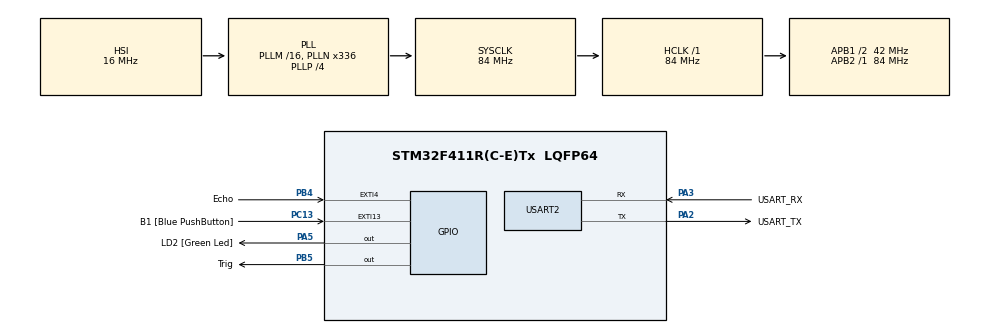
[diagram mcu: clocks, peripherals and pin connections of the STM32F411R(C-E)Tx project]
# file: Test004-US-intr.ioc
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Mcu.Family=STM32F4
Mcu.Name=STM32F411R(C-E)Tx
Mcu.Package=LQFP64
NVIC.EXTI4_IRQn=true\:0\:0\:false\:false\:true\:true\:true\:true
NVIC.PriorityGroup=NVIC_PRIORITYGROUP_0
NVIC.TIM3_IRQn=true\:0\:0\:false\:false\:true\:true\:true\:true
PA13.GPIO_Label=TMS
PA13.Mode=Serial_Wire
PA13.Signal=SYS_JTMS-SWDIO
PA14.GPIO_Label=TCK
PA14.Mode=Serial_Wire
PA14.Signal=SYS_JTCK-SWCLK
PA2.GPIO_Label=USART_TX
PA2.Mode=Asynchronous
PA2.Signal=USART2_TX
PA3.GPIO_Label=USART_RX
PA3.Mode=Asynchronous
PA3.Signal=USART2_RX
PA5.GPIO_Label=LD2 [Green Led]
PA5.Signal=GPIO_Output
PB3.GPIO_Label=SWO
PB3.Signal=SYS_JTDO-SWO
PB4.GPIO_Label=Echo
PB4.GPIO_ModeDefaultEXTI=GPIO_MODE_IT_RISING_FALLING
PB4.Signal=GPXTI4
PB5.GPIO_Label=Trig
PB5.Signal=GPIO_Output
PC13-ANTI_TAMP.GPIO_Label=B1 [Blue PushButton]
PC13-ANTI_TAMP.GPIO_ModeDefaultEXTI=GPIO_MODE_IT_FALLING
PC13-ANTI_TAMP.Signal=GPXTI13
PC14-OSC32_IN.Mode=LSE-External-Oscillator
PC14-OSC32_IN.Signal=RCC_OSC32_IN
PC15-OSC32_OUT.Mode=LSE-External-Oscillator
PC15-OSC32_OUT.Signal=RCC_OSC32_OUT
PH0\ -\ OSC_IN.Mode=HSE-External-Clock-Source
PH0\ -\ OSC_IN.Signal=RCC_OSC_IN
PH1\ -\ OSC_OUT.Mode=HSE-External-Clock-Source
PH1\ -\ OSC_OUT.Signal=RCC_OSC_OUT
ProjectManager.HeapSize=0x200
ProjectManager.StackSize=0x400
ProjectManager.TargetToolchain=STM32CubeIDE
RCC.48MHZClocksFreq_Value=84000000
RCC.AHBFreq_Value=84000000
RCC.APB1CLKDivider=RCC_HCLK_DIV2
RCC.APB1Freq_Value=42000000
RCC.APB1TimFreq_Value=84000000
RCC.APB2Freq_Value=84000000
RCC.APB2TimFreq_Value=84000000
RCC.CortexFreq_Value=84000000
RCC.FLatency-AdvancedSettings=FLASH_LATENCY_2
RCC.HCLKFreq_Value=84000000
RCC.HSE_VALUE=8000000
RCC.HSI_VALUE=16000000
RCC.PLLN=336
RCC.PLLP=RCC_PLLP_DIV4
RCC.SYSCLKFreq_VALUE=84000000
RCC.SYSCLKSource=RCC_SYSCLKSOURCE_PLLCLK
RCC.VCOOutputFreq_Value=336000000
TIM3.Period=10000-1
TIM3.Prescaler=560-1
TIM5.Prescaler=84-1
USART2.VirtualMode=VM_ASYNC
VP_TIM3_VS_ClockSourceINT.Mode=Internal
VP_TIM5_VS_ClockSourceINT.Mode=Internal
board=NUCLEO-F411RE

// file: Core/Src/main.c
/* USER CODE BEGIN Header */
/**
  ******************************************************************************
  * @file           : main.c
  * @brief          : Main program body
  ******************************************************************************
  * @attention
  *
  * Copyright (c) 2024 STMicroelectronics.
  * All rights reserved.
  *
  * This software is licensed under terms that can be found in the LICENSE file
  * in the root directory of this software component.
  * If no LICENSE file comes with this software, it is provided AS-IS.
  *
  ******************************************************************************
  */
/* USER CODE END Header */
#include "main.h"

TIM_HandleTypeDef htim3;
TIM_HandleTypeDef htim5;

UART_HandleTypeDef huart2;

void SystemClock_Config(void);
static void MX_GPIO_Init(void);
static void MX_USART2_UART_Init(void);
static void MX_TIM3_Init(void);
static void MX_TIM5_Init(void);

/* USER CODE BEGIN 0 */
void microDelay(int us)
{
	/*int t1 = htim5.Instance->CNT;
	while(1)
	{
		int tmp_us = htim5.Instance->CNT - t1 // 경과?���???????
		if(tmp_us > us) break;
	}*/
	htim5.Instance->CNT = 0;
	while(htim5.Instance->CNT < us);
}

void Trigger()
{
	// Trigger Signal
	HAL_GPIO_WritePin(Trig_GPIO_Port, Trig_Pin, 1);
	microDelay(10); // 10us delay
	HAL_GPIO_WritePin(Trig_GPIO_Port, Trig_Pin, 0);
	microDelay(20); // 20us delay
}
int ts = 0;
double dist = 0.0;
void HAL_GPIO_EXTI_Callback(uint16_t GPIO_Pin)
{
	if(GPIO_Pin == Echo_Pin)
	{
		int tt = htim5.Instance->CNT;	// micro count

		if(HAL_GPIO_ReadPin(Echo_GPIO_Port, Echo_Pin) == 1) //rising edge
			ts = tt;
		else
			dist = (tt - ts) * (0.000170); // meter
	}
}
void HAL_TIM_PeriodElapsedCallback(TIM_HandleTypeDef *htim)
{
	if(htim == &htim3)	// htim3 ISR
	{
		Trigger();
	}
}
/* USER CODE END 0 */

int main(void)
{

  /* MCU Configuration--------------------------------------------------------*/

  /* Reset of all peripherals, Initializes the Flash interface and the Systick. */
  HAL_Init();

  /* Configure the system clock */
  SystemClock_Config();

  /* Initialize all configured peripherals */
  MX_GPIO_Init();
  MX_USART2_UART_Init();
  MX_TIM3_Init();
  MX_TIM5_Init();
  /* USER CODE BEGIN 2 */

  ProgramStart("Ultra Sonic using Interrupt");
  HAL_TIM_Base_Start(&htim5);
  HAL_TIM_Base_Start_IT(&htim3);
  /* USER CODE END 2 */

  /* Infinite loop */
  while (1)
  {

    /* USER CODE BEGIN 3 */
	  double d = dist*100;//Distance();
	  //printf("\033[22l");		// cursor off
	  //printf("\033[22h");		// cursor on
	  //printf("\033[A");		// cursor up
	  //printf("\033[#3");		// double size string upper half
	  //printf("\033[#4");		// double size string lower half
	  printf("\033[10;10H\033#3Distance : %.2f cm     ", d);
	  printf("\033[11;10H\033#4Distance : %.2f cm     \033[9;10H\n", d);
	  HAL_Delay(100); // 10ms
  }
  /* USER CODE END 3 */
}

void SystemClock_Config(void)
{
  RCC_OscInitTypeDef RCC_OscInitStruct = {0};
  RCC_ClkInitTypeDef RCC_ClkInitStruct = {0};

  /** Configure the main internal regulator output voltage
  */
  __HAL_RCC_PWR_CLK_ENABLE();
  __HAL_PWR_VOLTAGESCALING_CONFIG(PWR_REGULATOR_VOLTAGE_SCALE1);

  /** Initializes the RCC Oscillators according to the specified parameters
  * in the RCC_OscInitTypeDef structure.
  */
  RCC_OscInitStruct.OscillatorType = RCC_OSCILLATORTYPE_HSI;
  RCC_OscInitStruct.HSIState = RCC_HSI_ON;
  RCC_OscInitStruct.HSICalibrationValue = RCC_HSICALIBRATION_DEFAULT;
  RCC_OscInitStruct.PLL.PLLState = RCC_PLL_ON;
  RCC_OscInitStruct.PLL.PLLSource = RCC_PLLSOURCE_HSI;
  RCC_OscInitStruct.PLL.PLLM = 16;
  RCC_OscInitStruct.PLL.PLLN = 336;
  RCC_OscInitStruct.PLL.PLLP = RCC_PLLP_DIV4;
  RCC_OscInitStruct.PLL.PLLQ = 4;
  if (HAL_RCC_OscConfig(&RCC_OscInitStruct) != HAL_OK)
  {
    Error_Handler();
  }

  /** Initializes the CPU, AHB and APB buses clocks
  */
  RCC_ClkInitStruct.ClockType = RCC_CLOCKTYPE_HCLK|RCC_CLOCKTYPE_SYSCLK
                              |RCC_CLOCKTYPE_PCLK1|RCC_CLOCKTYPE_PCLK2;
  RCC_ClkInitStruct.SYSCLKSource = RCC_SYSCLKSOURCE_PLLCLK;
  RCC_ClkInitStruct.AHBCLKDivider = RCC_SYSCLK_DIV1;
  RCC_ClkInitStruct.APB1CLKDivider = RCC_HCLK_DIV2;
  RCC_ClkInitStruct.APB2CLKDivider = RCC_HCLK_DIV1;

  if (HAL_RCC_ClockConfig(&RCC_ClkInitStruct, FLASH_LATENCY_2) != HAL_OK)
  {
    Error_Handler();
  }
}

static void MX_TIM3_Init(void)
{

  TIM_ClockConfigTypeDef sClockSourceConfig = {0};
  TIM_MasterConfigTypeDef sMasterConfig = {0};

  htim3.Instance = TIM3;
  htim3.Init.Prescaler = 560-1;
  htim3.Init.CounterMode = TIM_COUNTERMODE_UP;
  htim3.Init.Period = 10000-1;
  htim3.Init.ClockDivision = TIM_CLOCKDIVISION_DIV1;
  htim3.Init.AutoReloadPreload = TIM_AUTORELOAD_PRELOAD_DISABLE;
  if (HAL_TIM_Base_Init(&htim3) != HAL_OK)
  {
    Error_Handler();
  }
  sClockSourceConfig.ClockSource = TIM_CLOCKSOURCE_INTERNAL;
  if (HAL_TIM_ConfigClockSource(&htim3, &sClockSourceConfig) != HAL_OK)
  {
    Error_Handler();
  }
  sMasterConfig.MasterOutputTrigger = TIM_TRGO_RESET;
  sMasterConfig.MasterSlaveMode = TIM_MASTERSLAVEMODE_DISABLE;
  if (HAL_TIMEx_MasterConfigSynchronization(&htim3, &sMasterConfig) != HAL_OK)
  {
    Error_Handler();
  }

}

static void MX_TIM5_Init(void)
{

  TIM_ClockConfigTypeDef sClockSourceConfig = {0};
  TIM_MasterConfigTypeDef sMasterConfig = {0};

  htim5.Instance = TIM5;
  htim5.Init.Prescaler = 84-1;
  htim5.Init.CounterMode = TIM_COUNTERMODE_UP;
  htim5.Init.Period = 4294967295;
  htim5.Init.ClockDivision = TIM_CLOCKDIVISION_DIV1;
  htim5.Init.AutoReloadPreload = TIM_AUTORELOAD_PRELOAD_DISABLE;
  if (HAL_TIM_Base_Init(&htim5) != HAL_OK)
  {
    Error_Handler();
  }
  sClockSourceConfig.ClockSource = TIM_CLOCKSOURCE_INTERNAL;
  if (HAL_TIM_ConfigClockSource(&htim5, &sClockSourceConfig) != HAL_OK)
  {
    Error_Handler();
  }
  sMasterConfig.MasterOutputTrigger = TIM_TRGO_RESET;
  sMasterConfig.MasterSlaveMode = TIM_MASTERSLAVEMODE_DISABLE;
  if (HAL_TIMEx_MasterConfigSynchronization(&htim5, &sMasterConfig) != HAL_OK)
  {
    Error_Handler();
  }

}

static void MX_USART2_UART_Init(void)
{

  huart2.Instance = USART2;
  huart2.Init.BaudRate = 115200;
  huart2.Init.WordLength = UART_WORDLENGTH_8B;
  huart2.Init.StopBits = UART_STOPBITS_1;
  huart2.Init.Parity = UART_PARITY_NONE;
  huart2.Init.Mode = UART_MODE_TX_RX;
  huart2.Init.HwFlowCtl = UART_HWCONTROL_NONE;
  huart2.Init.OverSampling = UART_OVERSAMPLING_16;
  if (HAL_UART_Init(&huart2) != HAL_OK)
  {
    Error_Handler();
  }

}

static void MX_GPIO_Init(void)
{
  GPIO_InitTypeDef GPIO_InitStruct = {0};

  /* GPIO Ports Clock Enable */
  __HAL_RCC_GPIOC_CLK_ENABLE();
  __HAL_RCC_GPIOH_CLK_ENABLE();
  __HAL_RCC_GPIOA_CLK_ENABLE();
  __HAL_RCC_GPIOB_CLK_ENABLE();

  /*Configure GPIO pin Output Level */
  HAL_GPIO_WritePin(LD2_GPIO_Port, LD2_Pin, GPIO_PIN_RESET);

  /*Configure GPIO pin Output Level */
  HAL_GPIO_WritePin(Trig_GPIO_Port, Trig_Pin, GPIO_PIN_RESET);

  /*Configure GPIO pin : B1_Pin */
  GPIO_InitStruct.Pin = B1_Pin;
  GPIO_InitStruct.Mode = GPIO_MODE_IT_FALLING;
  GPIO_InitStruct.Pull = GPIO_NOPULL;
  HAL_GPIO_Init(B1_GPIO_Port, &GPIO_InitStruct);

  /*Configure GPIO pin : LD2_Pin */
  GPIO_InitStruct.Pin = LD2_Pin;
  GPIO_InitStruct.Mode = GPIO_MODE_OUTPUT_PP;
  GPIO_InitStruct.Pull = GPIO_NOPULL;
  GPIO_InitStruct.Speed = GPIO_SPEED_FREQ_LOW;
  HAL_GPIO_Init(LD2_GPIO_Port, &GPIO_InitStruct);

  /*Configure GPIO pin : Echo_Pin */
  GPIO_InitStruct.Pin = Echo_Pin;
  GPIO_InitStruct.Mode = GPIO_MODE_IT_RISING_FALLING;
  GPIO_InitStruct.Pull = GPIO_NOPULL;
  HAL_GPIO_Init(Echo_GPIO_Port, &GPIO_InitStruct);

  /*Configure GPIO pin : Trig_Pin */
  GPIO_InitStruct.Pin = Trig_Pin;
  GPIO_InitStruct.Mode = GPIO_MODE_OUTPUT_PP;
  GPIO_InitStruct.Pull = GPIO_NOPULL;
  GPIO_InitStruct.Speed = GPIO_SPEED_FREQ_LOW;
  HAL_GPIO_Init(Trig_GPIO_Port, &GPIO_InitStruct);

  /* EXTI interrupt init*/
  HAL_NVIC_SetPriority(EXTI4_IRQn, 0, 0);
  HAL_NVIC_EnableIRQ(EXTI4_IRQn);

}

void Error_Handler(void)
{
  __disable_irq();
  while (1)
  {
  }
}
